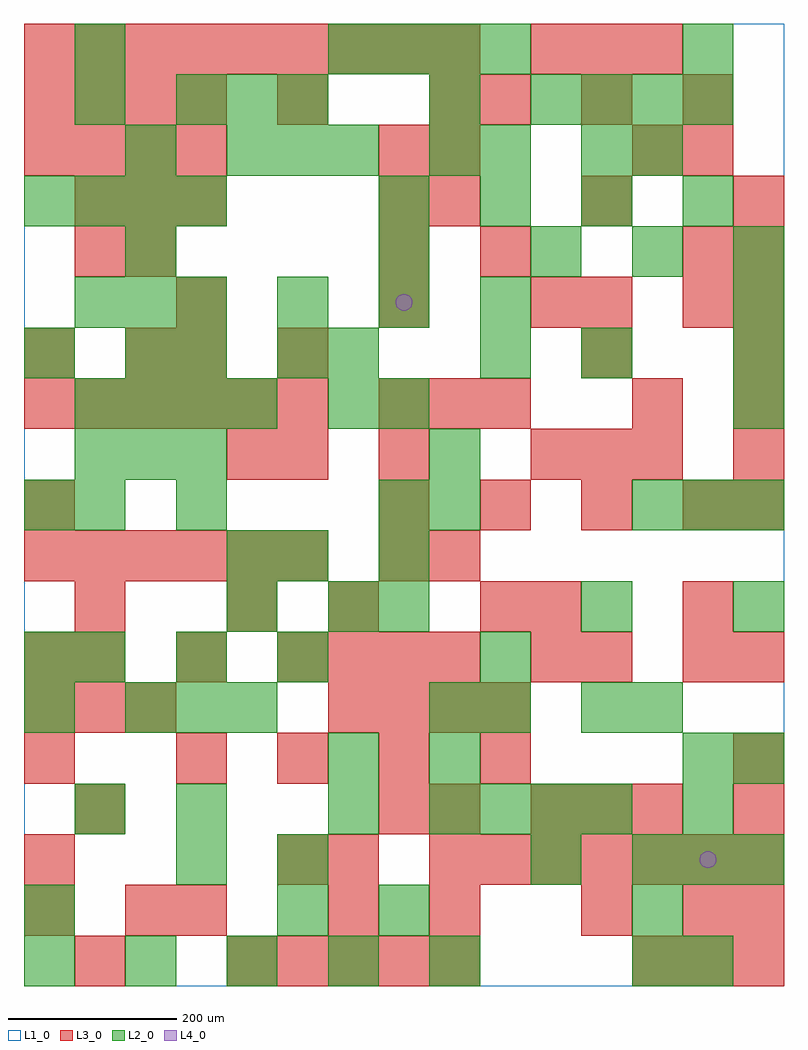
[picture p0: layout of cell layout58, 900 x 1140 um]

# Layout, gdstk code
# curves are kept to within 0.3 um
import gdstk
lib = gdstk.Library(unit=1e-6, precision=1e-09)
def R(c, l, rs):  # rectangles x0, y0, x1, y1
    for r in rs: c.add(gdstk.rectangle(r[:2], r[2:], *l))
def A(c, l, x, y, w, h, nx, ny, dx, dy):  # array of equal rectangles
    R(c, l, [(x+i*dx, y+j*dy, x+i*dx+w, y+j*dy+h) for i in range(nx) for j in range(ny)])
def P(c, l, *ps):  # polygons
    for p in ps: c.add(gdstk.Polygon(p, *l))
L1_0 = (1, 0)
L2_0 = (2, 0)
L3_0 = (3, 0)
L4_0 = (4, 0)

layout58 = lib.new_cell('layout58')
R(layout58, L1_0, [(0,0,900,1140)])
A(layout58, L2_0, 0, 0, 60, 60, 5, 1, 120, 0)
A(layout58, L2_0, 720, 120, 60, 60, 3, 2, 60, 420)
A(layout58, L2_0, 480, 180, 60, 60, 4, 1, 60, 0)
A(layout58, L2_0, 120, 300, 60, 60, 3, 1, 60, 0)
A(layout58, L2_0, 0, 360, 60, 60, 1, 3, 0, 180)
A(layout58, L2_0, 60, 360, 60, 60, 3, 1, 120, 0)
A(layout58, L2_0, 420, 420, 60, 60, 1, 3, 0, 60)
A(layout58, L2_0, 60, 600, 60, 60, 3, 2, 60, 180)
A(layout58, L2_0, 60, 660, 60, 60, 4, 1, 60, 0)
A(layout58, L2_0, 840, 660, 60, 60, 1, 3, 0, 60)
A(layout58, L2_0, 120, 720, 60, 60, 1, 3, 0, 120)
A(layout58, L2_0, 300, 780, 60, 60, 3, 1, 120, 0)
A(layout58, L2_0, 600, 840, 60, 60, 3, 1, 120, 0)
A(layout58, L2_0, 0, 900, 60, 60, 4, 1, 60, 0)
A(layout58, L2_0, 420, 900, 60, 60, 4, 1, 120, 0)
A(layout58, L2_0, 240, 960, 60, 60, 3, 1, 60, 0)
A(layout58, L2_0, 180, 1020, 60, 60, 3, 1, 60, 0)
A(layout58, L2_0, 600, 1020, 60, 60, 4, 1, 60, 0)
A(layout58, L2_0, 360, 1080, 60, 60, 4, 1, 60, 0)
R(layout58, L2_0, [(720,0,780,60), (780,0,840,60), (0,60,60,120), (300,60,360,120), (420,60,480,120), (720,60,780,120), (180,120,240,180), (300,120,360,180), (600,120,660,180), (60,180,120,240), (180,180,240,240), (360,180,420,240), (780,180,840,240), (360,240,420,300), (480,240,540,300), (780,240,840,300), (840,240,900,300), (0,300,60,360), (480,300,540,360), (540,300,600,360), (660,300,720,360), (720,300,780,360), (540,360,600,420), (240,420,300,480), (360,420,420,480), (660,420,720,480), (840,420,900,480), (240,480,300,540), (300,480,360,540), (60,540,120,600), (180,540,240,600), (480,540,540,600), (480,600,540,660), (360,660,420,720), (420,660,480,720), (180,720,240,780), (300,720,360,780), (360,720,420,780), (540,720,600,780), (660,720,720,780), (420,840,480,900), (480,960,540,1020), (540,960,600,1020), (660,960,720,1020), (720,960,780,1020), (60,1020,120,1080), (480,1020,540,1080), (60,1080,120,1140), (780,1080,840,1140)])
A(layout58, L3_0, 240, 0, 60, 60, 5, 1, 60, 0)
A(layout58, L3_0, 720, 0, 60, 60, 3, 1, 60, 0)
A(layout58, L3_0, 0, 120, 60, 60, 1, 3, 0, 120)
A(layout58, L3_0, 480, 120, 60, 60, 7, 1, 60, 0)
A(layout58, L3_0, 600, 180, 60, 60, 3, 2, 60, 420)
A(layout58, L3_0, 180, 240, 60, 60, 4, 1, 120, 0)
A(layout58, L3_0, 0, 300, 60, 60, 3, 1, 60, 0)
A(layout58, L3_0, 360, 300, 60, 60, 4, 1, 60, 0)
A(layout58, L3_0, 60, 360, 60, 60, 3, 1, 120, 0)
A(layout58, L3_0, 360, 360, 60, 60, 3, 1, 60, 0)
A(layout58, L3_0, 0, 480, 60, 60, 6, 2, 60, 180)
A(layout58, L3_0, 420, 540, 60, 60, 4, 1, 120, 0)
A(layout58, L3_0, 840, 540, 60, 60, 1, 6, 0, 60)
A(layout58, L3_0, 420, 660, 60, 60, 3, 1, 60, 0)
A(layout58, L3_0, 420, 780, 60, 60, 1, 4, 0, 60)
A(layout58, L3_0, 60, 900, 60, 60, 3, 1, 60, 0)
A(layout58, L3_0, 480, 900, 60, 60, 3, 1, 180, 0)
A(layout58, L3_0, 0, 960, 60, 60, 4, 2, 60, 60)
A(layout58, L3_0, 540, 1020, 60, 60, 3, 1, 120, 0)
A(layout58, L3_0, 0, 1080, 60, 60, 9, 1, 60, 0)
A(layout58, L3_0, 600, 1080, 60, 60, 3, 1, 60, 0)
R(layout58, L3_0, [(60,0,120,60), (0,60,60,120), (120,60,180,120), (180,60,240,120), (360,60,420,120), (480,60,540,120), (660,60,720,120), (780,60,840,120), (840,60,900,120), (300,120,360,180), (360,120,420,180), (60,180,120,240), (420,180,480,240), (480,180,540,240), (840,180,900,240), (840,240,900,300), (600,360,660,420), (660,360,720,420), (780,360,840,420), (840,360,900,420), (60,420,120,480), (240,420,300,480), (360,420,420,480), (540,420,600,480), (600,420,660,480), (780,420,840,480), (420,480,480,540), (480,480,540,540), (0,540,60,600), (240,600,300,660), (300,600,360,660), (420,600,480,660), (720,660,780,720), (0,720,60,780), (120,720,180,780), (180,720,240,780), (300,720,360,780), (660,720,720,780), (180,780,240,840), (600,780,660,840), (660,780,720,840), (780,780,840,840), (60,840,120,900), (120,840,180,900), (540,840,600,900), (780,840,840,900), (480,960,540,1020), (720,960,780,1020), (780,960,840,1020), (300,1020,360,1080), (480,1020,540,1080)])
P(layout58, L4_0, [(460,810),(459.239,813.827),(457.071,817.071),(453.827,819.239),(450,820),(446.173,819.239),(442.929,817.071),(440.761,813.827),(440,810),(440.761,806.173),(442.929,802.929),(446.173,800.761),(450,800),(453.827,800.761),(457.071,802.929),(459.239,806.173)],
  [(820,150),(819.239,153.827),(817.071,157.071),(813.827,159.239),(810,160),(806.173,159.239),(802.929,157.071),(800.761,153.827),(800,150),(800.761,146.173),(802.929,142.929),(806.173,140.761),(810,140),(813.827,140.761),(817.071,142.929),(819.239,146.173)])

lib.write_gds('layout58.gds')
